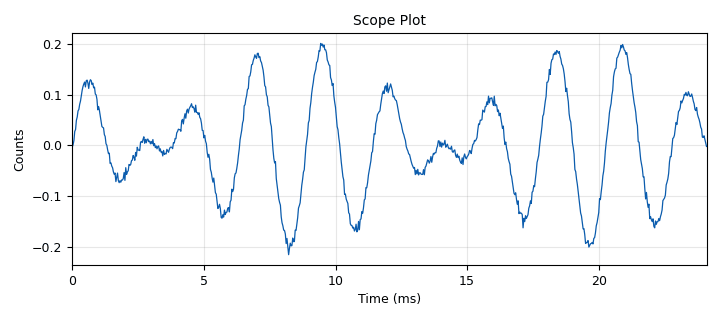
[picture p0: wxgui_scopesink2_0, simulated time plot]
<?xml version='1.0' encoding='utf-8'?>
<?grc format='1' created='3.7.11'?>
<flow_graph>
<block>
<key>options</key>
<param><key>id</key><value>Dial_Tone</value></param>
<param><key>category</key><value>Custom</value></param>
<param><key>generate_options</key><value>wx_gui</value></param>
</block>
<block>
<key>variable_slider</key>
<param><key>id</key><value>Src_freq_2</value></param>
<param><key>converver</key><value>float_converter</value></param>
<param><key>value</key><value>440</value></param>
<param><key>label</key><value>Src_Freq_2</value></param>
<param><key>max</key><value>1000</value></param>
<param><key>min</key><value>0</value></param>
<param><key>num_steps</key><value>1000</value></param>
<param><key>style</key><value>wx.SL_HORIZONTAL</value></param>
</block>
<block>
<key>variable_slider</key>
<param><key>id</key><value>noise_amp</value></param>
<param><key>converver</key><value>float_converter</value></param>
<param><key>value</key><value>.005</value></param>
<param><key>label</key><value>noise_amp</value></param>
<param><key>max</key><value>0.1</value></param>
<param><key>min</key><value>0</value></param>
<param><key>num_steps</key><value>1000</value></param>
<param><key>style</key><value>wx.SL_HORIZONTAL</value></param>
</block>
<block>
<key>variable</key>
<param><key>id</key><value>samp_rate</value></param>
<param><key>value</key><value>32000</value></param>
</block>
<block>
<key>variable_slider</key>
<param><key>id</key><value>src_freq_1</value></param>
<param><key>converver</key><value>float_converter</value></param>
<param><key>value</key><value>350</value></param>
<param><key>label</key><value>Src_Freq_1</value></param>
<param><key>max</key><value>1000</value></param>
<param><key>min</key><value>0</value></param>
<param><key>num_steps</key><value>1000</value></param>
<param><key>style</key><value>wx.SL_HORIZONTAL</value></param>
</block>
<block>
<key>analog_noise_source_x</key>
<param><key>id</key><value>analog_noise_source_x_0</value></param>
<param><key>amp</key><value>noise_amp</value></param>
<param><key>noise_type</key><value>analog.GR_GAUSSIAN</value></param>
<param><key>type</key><value>float</value></param>
<param><key>seed</key><value>0</value></param>
</block>
<block>
<key>analog_sig_source_x</key>
<param><key>id</key><value>analog_sig_source_x_0</value></param>
<param><key>amp</key><value>.1</value></param>
<param><key>freq</key><value>src_freq_1</value></param>
<param><key>offset</key><value>0</value></param>
<param><key>type</key><value>float</value></param>
<param><key>samp_rate</key><value>samp_rate</value></param>
<param><key>waveform</key><value>analog.GR_COS_WAVE</value></param>
</block>
<block>
<key>analog_sig_source_x</key>
<param><key>id</key><value>analog_sig_source_x_1</value></param>
<param><key>amp</key><value>0.1</value></param>
<param><key>freq</key><value>Src_freq_2</value></param>
<param><key>offset</key><value>0</value></param>
<param><key>type</key><value>float</value></param>
<param><key>samp_rate</key><value>samp_rate</value></param>
<param><key>waveform</key><value>analog.GR_COS_WAVE</value></param>
</block>
<block>
<key>audio_sink</key>
<param><key>id</key><value>audio_sink_0</value></param>
<param><key>samp_rate</key><value>48000</value></param>
</block>
<block>
<key>blocks_add_xx</key>
<param><key>id</key><value>blocks_add_xx_0</value></param>
<param><key>type</key><value>float</value></param>
<param><key>num_inputs</key><value>3</value></param>
</block>
<block>
<key>wxgui_scopesink2</key>
<param><key>id</key><value>wxgui_scopesink2_0</value></param>
<param><key>ac_couple</key><value>False</value></param>
<param><key>num_inputs</key><value>1</value></param>
<param><key>samp_rate</key><value>samp_rate</value></param>
<param><key>t_scale</key><value>0</value></param>
<param><key>title</key><value>Scope Plot</value></param>
<param><key>trig_mode</key><value>wxgui.TRIG_MODE_AUTO</value></param>
<param><key>type</key><value>float</value></param>
<param><key>v_offset</key><value>0</value></param>
<param><key>v_scale</key><value>0</value></param>
<param><key>xy_mode</key><value>False</value></param>
<param><key>y_axis_label</key><value>Counts</value></param>
</block>
<connection><source_block_id>analog_noise_source_x_0</source_block_id><sink_block_id>blocks_add_xx_0</sink_block_id><source_key>0</source_key><sink_key>2</sink_key></connection>
<connection><source_block_id>analog_sig_source_x_0</source_block_id><sink_block_id>blocks_add_xx_0</sink_block_id><source_key>0</source_key><sink_key>0</sink_key></connection>
<connection><source_block_id>analog_sig_source_x_1</source_block_id><sink_block_id>blocks_add_xx_0</sink_block_id><source_key>0</source_key><sink_key>1</sink_key></connection>
<connection><source_block_id>blocks_add_xx_0</source_block_id><sink_block_id>audio_sink_0</sink_block_id><source_key>0</source_key><sink_key>0</sink_key></connection>
<connection><source_block_id>blocks_add_xx_0</source_block_id><sink_block_id>wxgui_scopesink2_0</sink_block_id><source_key>0</source_key><sink_key>0</sink_key></connection>
</flow_graph>
